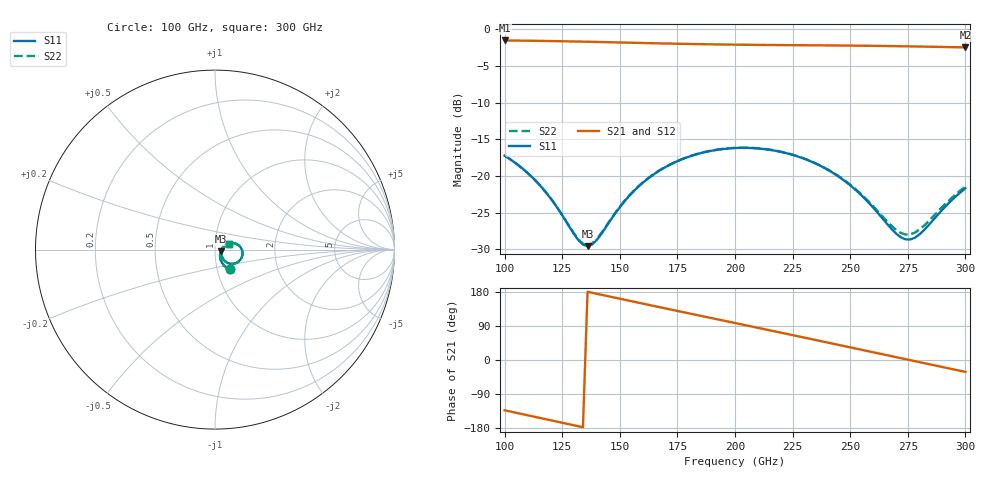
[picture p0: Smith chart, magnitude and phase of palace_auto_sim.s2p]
#  GHZ S DB R 50
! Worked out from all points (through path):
!   101 points, 100 GHz to 300 GHz, reference 50 ohm
!   highest |S21| = -1.53 dB at 100 GHz (marker M1); lowest = -2.5 dB at 300 GHz (marker M2)
!   group delay of S21, straight-line fit = 3.58 ps
!   lowest |S11| = -29.6 dB at 136 GHz (marker M3), VSWR 1.07, Z = 53.3 - j1.07 ohm
!   |S11| at or under -10 dB: start of sweep to end of sweep
!   |S22| runs from -29.4 to -16.1 dB; largest |S21 - S12| = 9e-14
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100  -17.24 -53.4  -1.53 -132.7  -1.53 -132.7  -17.23 -53.5
108  -19.05 -58.9  -1.56 -143.2  -1.56 -143.2  -19.05 -59.0
116  -21.52 -62.0  -1.59 -153.7  -1.59 -153.7  -21.51 -62.0
126  -25.86 -55.9  -1.65 -166.9  -1.65 -166.9  -25.82 -55.7
134  -29.36 -28.4  -1.70 -177.4  -1.70 -177.4  -29.24 -28.2
136  -29.57 -17.6  -1.71 180.0  -1.71 180.0  -29.44 -17.6
140  -28.73 2.4  -1.74 174.8  -1.74 174.8  -28.60 2.0
150  -24.26 23.6  -1.81 161.7  -1.81 161.7  -24.20 22.9
156  -22.09 24.8  -1.85 154.0  -1.85 154.0  -22.04 24.2
168  -19.12 19.3  -1.93 138.5  -1.93 138.5  -19.09 18.7
184  -16.99 6.2  -2.03 118.0  -2.03 118.0  -16.96 5.7
200  -16.20 -8.7  -2.11 97.6  -2.11 97.6  -16.17 -9.2
216  -16.49 -24.0  -2.15 77.2  -2.15 77.2  -16.46 -24.4
224  -17.04 -31.3  -2.17 66.9  -2.17 66.9  -17.01 -31.6
234  -18.17 -39.8  -2.19 54.1  -2.19 54.1  -18.13 -39.9
244  -19.88 -46.7  -2.22 41.1  -2.22 41.1  -19.83 -46.5
252  -21.80 -49.9  -2.24 30.8  -2.24 30.8  -21.71 -49.3
268  -27.24 -36.6  -2.30 10.0  -2.30 10.0  -26.82 -35.2
274  -28.64 -17.0  -2.33 2.2  -2.33 2.2  -27.98 -16.9
278  -28.43 -1.8  -2.35 -3.0  -2.35 -3.0  -27.74 -3.1
288  -25.30 20.9  -2.41 -15.9  -2.41 -15.9  -24.86 17.7
300  -21.69 24.0  -2.48 -31.3  -2.48 -31.3  -21.45 20.8
